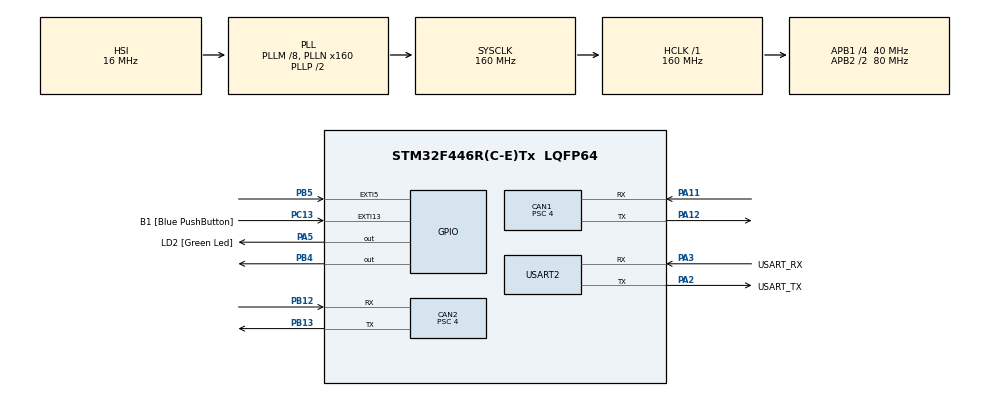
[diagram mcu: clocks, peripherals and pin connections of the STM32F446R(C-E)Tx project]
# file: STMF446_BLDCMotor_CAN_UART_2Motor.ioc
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CAN1.BS1=CAN_BS1_2TQ
CAN1.BS2=CAN_BS2_7TQ
CAN1.CalculateBaudRate=1000000
CAN1.CalculateTimeBit=1000
CAN1.CalculateTimeQuantum=100.0
CAN1.Prescaler=4
CAN1.SJW=CAN_SJW_2TQ
CAN2.BS1=CAN_BS1_2TQ
CAN2.BS2=CAN_BS2_7TQ
CAN2.CalculateBaudRate=1000000
CAN2.CalculateTimeBit=1000
CAN2.CalculateTimeQuantum=100.0
CAN2.Prescaler=4
CAN2.SJW=CAN_SJW_2TQ
Mcu.Family=STM32F4
Mcu.Name=STM32F446R(C-E)Tx
Mcu.Package=LQFP64
NVIC.CAN1_RX0_IRQn=true\:0\:0\:false\:false\:true\:true\:true\:true
NVIC.CAN1_TX_IRQn=true\:0\:0\:false\:false\:true\:true\:true\:true
NVIC.CAN2_RX0_IRQn=true\:0\:0\:false\:false\:true\:true\:true\:true
NVIC.CAN2_TX_IRQn=true\:0\:0\:false\:false\:true\:true\:true\:true
NVIC.EXTI9_5_IRQn=true\:0\:0\:false\:false\:true\:true\:true\:true
NVIC.PriorityGroup=NVIC_PRIORITYGROUP_4
NVIC.USART2_IRQn=true\:0\:0\:true\:false\:true\:true\:true\:true
PA11.Mode=CAN_Activate
PA11.Signal=CAN1_RX
PA12.GPIO_PuPd=GPIO_PULLUP
PA12.Mode=CAN_Activate
PA12.Signal=CAN1_TX
PA13.GPIO_Label=TMS
PA13.Mode=Serial_Wire
PA13.Signal=SYS_JTMS-SWDIO
PA14.GPIO_Label=TCK
PA14.Mode=Serial_Wire
PA14.Signal=SYS_JTCK-SWCLK
PA2.GPIO_Label=USART_TX
PA2.Mode=Asynchronous
PA2.Signal=USART2_TX
PA3.GPIO_Label=USART_RX
PA3.Mode=Asynchronous
PA3.Signal=USART2_RX
PA5.GPIO_Label=LD2 [Green Led]
PA5.PinState=GPIO_PIN_RESET
PA5.Signal=GPIO_Output
PB12.Mode=CAN_Activate
PB12.Signal=CAN2_RX
PB13.GPIO_PuPd=GPIO_PULLUP
PB13.Mode=CAN_Activate
PB13.Signal=CAN2_TX
PB3.GPIO_Label=SWO
PB3.Signal=SYS_JTDO-SWO
PB4.Signal=GPIO_Output
PB5.GPIO_ModeDefaultEXTI=GPIO_MODE_IT_RISING_FALLING
PB5.Signal=GPXTI5
PC13.GPIO_Label=B1 [Blue PushButton]
PC13.GPIO_ModeDefaultEXTI=GPIO_MODE_IT_FALLING
PC13.Signal=GPXTI13
PC14-OSC32_IN.Mode=LSE-External-Oscillator
PC14-OSC32_IN.Signal=RCC_OSC32_IN
PC15-OSC32_OUT.Mode=LSE-External-Oscillator
PC15-OSC32_OUT.Signal=RCC_OSC32_OUT
PH0-OSC_IN.Mode=HSE-External-Oscillator
PH0-OSC_IN.Signal=RCC_OSC_IN
PH1-OSC_OUT.Mode=HSE-External-Oscillator
PH1-OSC_OUT.Signal=RCC_OSC_OUT
ProjectManager.HeapSize=0x200
ProjectManager.StackSize=0x400
ProjectManager.TargetToolchain=STM32CubeIDE
RCC.48MHZClocksFreq_Value=84000000
RCC.AHBFreq_Value=160000000
RCC.APB1CLKDivider=RCC_HCLK_DIV4
RCC.APB1Freq_Value=40000000
RCC.APB1TimFreq_Value=80000000
RCC.APB2CLKDivider=RCC_HCLK_DIV2
RCC.APB2Freq_Value=80000000
RCC.APB2TimFreq_Value=160000000
RCC.CortexFreq_Value=160000000
RCC.FLatency-AdvancedSettings=FLASH_LATENCY_5
RCC.HCLKFreq_Value=160000000
RCC.HSE_VALUE=8000000
RCC.HSI_VALUE=16000000
RCC.PLLM=8
RCC.PLLN=160
RCC.SYSCLKFreq_VALUE=160000000
RCC.SYSCLKSource=RCC_SYSCLKSOURCE_PLLCLK
RCC.USBFreq_Value=160000000
RCC.VCOOutputFreq_Value=320000000
USART2.VirtualMode=VM_ASYNC
board=NUCLEO-F446RE

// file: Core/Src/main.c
/* USER CODE BEGIN Header */
/**
  ******************************************************************************
  * @file           : main.c
  * @brief          : Main program body
  ******************************************************************************
  * @attention
  *
  * Copyright (c) 2022 STMicroelectronics.
  * All rights reserved.
  *
  * This software is licensed under terms that can be found in the LICENSE file
  * in the root directory of this software component.
  * If no LICENSE file comes with this software, it is provided AS-IS.
  *
  ******************************************************************************
  */
/* USER CODE END Header */
#include "main.h"

/* USER CODE BEGIN Includes */
#include<stdio.h>
#include <math.h>
#include "math_ops.h"
#include "leg_message.h"
/* USER CODE END Includes */

 CAN_HandleTypeDef hcan1;
CAN_HandleTypeDef hcan2;

UART_HandleTypeDef huart2;

/* USER CODE BEGIN PV */
CAN_FilterTypeDef sFilterConfig;
CAN_TxHeaderTypeDef TxHeader;
CAN_RxHeaderTypeDef RxHeader;
uint8_t TxData[10];
uint8_t RxData[10];
uint8_t data[8];
uint32_t TxMailbox;
uint32_t canid;
uint8_t cmd_data = 0x00;
uint8_t home_position_state =0;
uint8_t get_uart_flag = 0;
uint8_t get_can_flag = 0; //canを受信したかどうかのflag
uint8_t nextcan_flag = 0;
uint8_t selectmode_flag = 0;
int Writecom=0x00;
int Readcom=0x00;
char RMD_cmd;
float p_getdata=0.0;
float t_position[2];
uint16_t p_getintdata=0;
float l1=300.0;
float l2=350.0;

/* USER CODE END PV */

void SystemClock_Config(void);
static void MX_GPIO_Init(void);
static void MX_USART2_UART_Init(void);
static void MX_CAN2_Init(void);
static void MX_CAN1_Init(void);
/* USER CODE BEGIN PFP */
/// Value Limits ///
 #define P_MIN -12.5f
 #define P_MAX 12.5f
 #define V_MIN -65.0f
 #define V_MAX 65.0f
 #define KP_MIN 0.0f
 #define KP_MAX 500.0f
 #define KD_MIN 0.0f
 #define KD_MAX 5.0f
 #define T_MIN -18.0f
 #define T_MAX 18.0f

 /// Joint Soft Stops ///
 #define A_LIM_P 1.5f
 #define A_LIM_N -1.5f
 #define H_LIM_P 5.0f
 #define H_LIM_N -5.0f
 #define K_LIM_P 0.2f
 #define K_LIM_N 7.7f
 #define KP_SOFTSTOP 100.0f
 #define KD_SOFTSTOP 0.4f;

#define ENABLE_CMD 0xFFFF
#define DISABLE_CMD 0x1F1F
/* USER CODE END PFP */

/* USER CODE BEGIN 0 */
uint8_t uart_data;
char tx_data[]="get_data\r\n";
int flag = 1;
uint8_t buffersize=10;
typedef struct {
	uint16_t rxMsg;
	uint16_t txMsg;
}CANMessage;

void HAL_GPIO_EXTI_Callback(uint16_t GPIO_Pin)
{
	//stepper 0 end stop senssor
	if(GPIO_Pin == GPIO_PIN_5 ){
		if(!HAL_GPIO_ReadPin(GPIOB, GPIO_PIN_5)){	//end stop ONの時フラグを立てる
			home_position_state |= 1;
		}
		if(HAL_GPIO_ReadPin(GPIOB, GPIO_PIN_5)){
			home_position_state &= ~1;
		}
	}
}

void Zero(){
	data[0] = 0xFF;
    data[1] = 0xFF;
    data[2] = 0xFF;
    data[3] = 0xFF;
    data[4] = 0xFF;
    data[5] = 0xFF;
    data[6] = 0xFF;
    data[7] = 0xFE;
    //WriteAll();
    }

void EnterMotorMode(){
	data[0] = 0xFF;
    data[1] = 0xFF;
    data[2] = 0xFF;
    data[3] = 0xFF;
    data[4] = 0xFF;
    data[5] = 0xFF;
    data[6] = 0xFF;
    data[7] = 0xFC;
    //WriteAll();
    }

void ExitMotorMode(){
	data[0] = 0xFF;
	data[1] = 0xFF;
	data[2] = 0xFF;
	data[3] = 0xFF;
	data[4] = 0xFF;
	data[5] = 0xFF;
	data[6] = 0xFF;
	data[7] = 0xFD;
    //WriteAll();
    }

void pack_cmd(float _p_des, float _v_des, float _kp, float _kd, float _t_ff){
	/// limit data to be within bounds ///
	float p_des = fminf(fmaxf(P_MIN, _p_des), P_MAX);
	float v_des = fminf(fmaxf(V_MIN, _v_des), V_MAX);
	float kp = fminf(fmaxf(KP_MIN, _kp), KP_MAX);
	float kd = fminf(fmaxf(KD_MIN, _kd), KD_MAX);
	float t_ff = fminf(fmaxf(T_MIN, _t_ff), T_MAX);
	/// convert floats to unsigned ints ///
	uint16_t p_int = float_to_uint(p_des, P_MIN, P_MAX, 16);
	uint16_t v_int = float_to_uint(v_des, V_MIN, V_MAX, 12);
	uint16_t kp_int = float_to_uint(kp, KP_MIN, KP_MAX, 12);
	uint16_t kd_int = float_to_uint(kd, KD_MIN, KD_MAX, 12);
	uint16_t t_int = float_to_uint(t_ff, T_MIN, T_MAX, 12);
	/// pack ints into the can buffer ///
	data[0] = p_int>>8;
	data[1] = p_int&0xFF;
	data[2] = v_int>>4;
	data[3] = ((v_int&0xF)<<4)|(kp_int>>8);
	data[4] = kp_int&0xFF;
	data[5] = kd_int>>4;
	data[6] = ((kd_int&0xF)<<4)|(t_int>>8);
	data[7] = t_int&0xFF;
}
void BLDC_CANTx(){
	TxHeader.StdId=canid;
	TxHeader.IDE = CAN_ID_STD;
	TxHeader.DLC = 0x08;
	TxHeader.RTR = CAN_RTR_DATA;
	TxHeader.TransmitGlobalTime = DISABLE;
//	HAL_CAN_AddTxMessage(&hcan1,&TxHeader,data,&TxMailbox);
//	HAL_Delay(10);

//	int i = 0;
	int count=0;
	if(0 < HAL_CAN_GetTxMailboxesFreeLevel(&hcan2) ){
		HAL_CAN_AddTxMessage(&hcan2,&TxHeader,data,&TxMailbox);
		HAL_Delay(10);
//		printf("Can Send\r\n"3);
		while(!nextcan_flag){
			printf("Mailboxes: %d\r\n",HAL_CAN_GetTxMailboxesFreeLevel(&hcan2));
			HAL_CAN_AddTxMessage(&hcan2,&TxHeader,data,&TxMailbox);
			HAL_Delay(1);
			count++;
			if(count==10){
				nextcan_flag=1;
				get_can_flag=1;
				HAL_CAN_Stop (&hcan2);
				//HAL_CAN_AbortTxRequest(&hcan1,TxMailbox);
				HAL_CAN_Start(&hcan2);
				printf("CAN RESET\r\n");
			}
		}
		nextcan_flag=0;
		count=0;
	}else{
		printf("Mailbox_congestion\r\n");
		nextcan_flag=0;
		get_can_flag=1;
	}
	HAL_Delay(10);
}

void unpack_reply(){
    /// unpack ints from can buffer ///
    uint16_t id = data[0];
    uint16_t p_int = (data[1]<<8)|data[2];
    uint16_t v_int = (data[3]<<4)|(data[4]>>4);
    uint16_t i_int = ((data[4]&0xF)<<8)|data[5];

    p_getintdata=p_int;
    /// convert uints to floats ///
    float p = uint_to_float(p_int, P_MIN, P_MAX, 16);
    float v = uint_to_float(v_int, V_MIN, V_MAX, 12);
    float t = uint_to_float(i_int, -T_MAX, T_MAX, 12);
    p_getdata=p;
    //printf(" get data \r\n");
    printf("GetUnpackCanData\r\n");
    printf("ID : %x\r\n",id);
    printf("Position : %lf\r\n",p);
    printf("Velocity : %lf\r\n",v);
    printf("Current : %lf\r\n",t);
	printf("\r\n");

}
void BLDC_MotorRotate(){
	float Kp_change_exp[2];
	float Kp_change[2];
	float i;
	float count;
	uint8_t count_end=0;
	canid=0x01;
	pack_cmd(0.0, 0.0, 0.0, 4.0, 0.0);	//現在の場所の所得
	BLDC_CANTx();
	HAL_Delay(10);
	unpack_reply();
	Kp_change[0]=fabsf(t_position[0]-p_getdata);	//目標地点ー現在の地点＝移動距離
	canid=0x02;
	pack_cmd(0.0, 0.0, 0.0, 4.0, 0.0);	//現在の場所の所得
	BLDC_CANTx();
	HAL_Delay(10);
	unpack_reply();
	Kp_change[1]=fabsf(t_position[1]-p_getdata);
	Kp_change_exp[0]=0.0;
	Kp_change_exp[1]=0.0;
	i= -5.0;
	count=(Kp_change[0]>=Kp_change[1])?Kp_change[0]:Kp_change[1];
	while(count_end==0){
			if(i<=2.0){
				i+=7.0/(20.0 *count);
				Kp_change_exp[0]=100.0*(exp(i)/exp(2.0));
				canid=0x01;
				pack_cmd(t_position[0], 0.0, Kp_change_exp[0], 3.0, 0.0);
				BLDC_CANTx();
				HAL_Delay(10);

				Kp_change_exp[1]=100.0*(exp(i)/exp(2.0));
				canid=0x02;
				pack_cmd(t_position[1], 0.0, Kp_change_exp[1], 3.0, 0.0);
				BLDC_CANTx();
				HAL_Delay(10);
			}else{
				if(Kp_change_exp[0]!=100.0){
					canid=0x01;
					pack_cmd(t_position[0], 0.0, 100.0 , 3.0, 0.0);
					BLDC_CANTx();
					HAL_Delay(10);
					printf("Kp_hosei\r\n");
				}
				if(Kp_change_exp[1]!=100.0){
					canid=0x02;
					pack_cmd(t_position[1], 0.0, 100.0 , 3.0, 0.0);
					BLDC_CANTx();
					HAL_Delay(10);
					printf("Kp_hosei\r\n");
				}
				count_end=1;
			}
		}
}

void command_judgment(uint8_t *ModeSelect){
	int modeflag_count=0;
	for(uint8_t i=0; i<10 ;i++){
			  ModeSelect[i]= ~(ModeSelect[i]);
			  if(ModeSelect[i]==0){
				  modeflag_count++;
			  }
		  }
		  if(modeflag_count<=8){	//動作モード
			  selectmode_flag=0;
		  }
		  else if(modeflag_count==9){	//コマンドモード,9byte ModeSelectが0だったら
			  selectmode_flag=1;
		  }
}
void BLDC_FK(float s1,float s2,float* xp,float* yp);
void BLDC_IK(float x,float y,float* s1p,float* s2p);
/* USER CODE END 0 */

int main(void)
{

  /* MCU Configuration--------------------------------------------------------*/

  /* Reset of all peripherals, Initializes the Flash interface and the Systick. */
  HAL_Init();

  /* Configure the system clock */
  SystemClock_Config();

  /* Initialize all configured peripherals */
  MX_GPIO_Init();
  MX_USART2_UART_Init();
  MX_CAN2_Init();
  MX_CAN1_Init();
  /* USER CODE BEGIN 2 */
  uint32_t Init_flag=0;
  if(HAL_GPIO_ReadPin(GPIOB, GPIO_PIN_5)!=1){	//リミットスイッチON→待機状態
	  home_position_state=1;
	  printf("home_position_state\r\n");
  }else{
	  home_position_state=0;
	  printf("Error!\r\n");
  }
sFilterConfig.FilterBank = 14;
sFilterConfig.FilterMode = CAN_FILTERMODE_IDMASK;
sFilterConfig.FilterScale = CAN_FILTERSCALE_32BIT;
sFilterConfig.FilterIdHigh = 0x0000;
sFilterConfig.FilterIdLow = 0x0000;
sFilterConfig.FilterMaskIdHigh = 0x0000;
sFilterConfig.FilterMaskIdLow = 0x0000;
sFilterConfig.FilterFIFOAssignment = CAN_RX_FIFO0;
//	sFilterConfig.FilterFIFOAssignment =CAN_FILTER_FIFO0;
sFilterConfig.FilterActivation=ENABLE;
sFilterConfig.SlaveStartFilterBank=14;

if(HAL_CAN_ConfigFilter(&hcan2,&sFilterConfig) != HAL_OK)
{
	Error_Handler();
}
if(HAL_CAN_Start(&hcan2)!=HAL_OK)
{
	Error_Handler();
}

if(HAL_CAN_ActivateNotification(&hcan2,CAN_IT_RX_FIFO0_MSG_PENDING | CAN_IT_TX_MAILBOX_EMPTY) != HAL_OK)
{
	Error_Handler();
}
uint8_t judgment[10];
uint8_t modeflag=0;
uint32_t t_int_position[2];
uint8_t mode_select[1];
char Mode_Type[4];
uint32_t Mode_selection=0;
float coordinate_tf[2];
float fk_data[2];
float ik_data[2];
float origin_position[10];
BLDC_IK(-300.0,0.0,&ik_data[0],&ik_data[1]);
origin_position[0]=ik_data[0];
origin_position[1]=ik_data[1];
fk_data[0]=0.0;
fk_data[1]=0.0;
RxData[0]=0;
printf("BLDC Start\r\n");

  /* USER CODE END 2 */

  /* Infinite loop */
  /* USER CODE BEGIN WHILE */
  while (1)
  {
//	  RxData[0]=0;
//	  home_position_state=0;
	  get_uart_flag=0;
	  HAL_UART_Receive_IT(&huart2, (uint8_t *)RxData, buffersize);
	  //HAL_UART_Transmit(&huart2, (uint8_t *)RxData, buffersize,300);
	  //受信するまで待つ
	  while(!get_uart_flag){}
	  get_can_flag=1;//canデータ受信用のフラグを0に
	  for(int i=0;i<10;i++){
		  judgment[i]=RxData[i];
	  }
	  command_judgment(judgment);
	  if(home_position_state==1&&selectmode_flag==1&&RxData[0]==0x1A){	//初期位置モード
		  printf("Initialization\r\n");	//初期位置モード
		  EnterMotorMode();
		  canid=0x01;
		  BLDC_CANTx();
		  canid=0x02;
		  BLDC_CANTx();
		  HAL_Delay(10);
		  t_position[0]=PI/2;
		  t_position[1]=PI;
		  BLDC_MotorRotate();
		  RxData[0]=0;
	  }
	  else if(home_position_state==0&&selectmode_flag==1){
			  mode_select[0]=RxData[0];	//モード変更
		  }
	 if(home_position_state==0){
		  switch(mode_select[0]){	//動作モード
		  case 0xA0:
			  if(selectmode_flag==0){
				  t_position[0] = uint_to_float(RxData[0], P_MIN, P_MAX, 16);
				  t_position[1] = uint_to_float(RxData[1], P_MIN, P_MAX, 16);
				  BLDC_MotorRotate();
			  }
			  break;
		  case 0xB0:	//ティーチングモード開始
			  canid=0x01;
			  pack_cmd(0.0, 0.0, 0.0, 1.0, 0.0);
			  BLDC_CANTx();
			  canid=0x02;
			  pack_cmd(0.0, 0.0, 0.0, 1.0, 0.0);
			  BLDC_CANTx();
			  HAL_Delay(10);
			  RxData[0]=0;
			  break;
		  case 0xB1:	//ティーチング決定
			  canid=0x01;
			  pack_cmd(0.0, 0.0, 0.0, 4.0, 0.0);
			  BLDC_CANTx();
			  unpack_reply();
			  TxData[0]=p_getintdata;
			  canid=0x02;
			  pack_cmd(0.0, 0.0, 0.0, 4.0, 0.0);
			  BLDC_CANTx();
			  unpack_reply();
			  TxData[1]=p_getintdata;
			  HAL_UART_Transmit(&huart2,TxData,sizeof(TxData),100);
			  break;
		  case 0x01:	//モーターON
			  canid=0x01;
			  EnterMotorMode();
			  BLDC_CANTx();
			  canid=0x02;
			  EnterMotorMode();
			  BLDC_CANTx();
			  break;
		  case 0x02:	//モーターOFF
			  canid=0x01;
			  ExitMotorMode();
			  BLDC_CANTx();
			  canid=0x02;
			  ExitMotorMode();
			  BLDC_CANTx();
			  break;
		  case 0xF1:	//座標受け取り、

			  break;
		  default:
			  get_can_flag=1;
			  break;
		  }
		  get_uart_flag=0;
		  while(!get_can_flag){}
	  }

    /* USER CODE END WHILE */

  }
}

void SystemClock_Config(void)
{
  RCC_OscInitTypeDef RCC_OscInitStruct = {0};
  RCC_ClkInitTypeDef RCC_ClkInitStruct = {0};

  /** Configure the main internal regulator output voltage
  */
  __HAL_RCC_PWR_CLK_ENABLE();
  __HAL_PWR_VOLTAGESCALING_CONFIG(PWR_REGULATOR_VOLTAGE_SCALE1);

  /** Initializes the RCC Oscillators according to the specified parameters
  * in the RCC_OscInitTypeDef structure.
  */
  RCC_OscInitStruct.OscillatorType = RCC_OSCILLATORTYPE_HSI;
  RCC_OscInitStruct.HSIState = RCC_HSI_ON;
  RCC_OscInitStruct.HSICalibrationValue = RCC_HSICALIBRATION_DEFAULT;
  RCC_OscInitStruct.PLL.PLLState = RCC_PLL_ON;
  RCC_OscInitStruct.PLL.PLLSource = RCC_PLLSOURCE_HSI;
  RCC_OscInitStruct.PLL.PLLM = 8;
  RCC_OscInitStruct.PLL.PLLN = 160;
  RCC_OscInitStruct.PLL.PLLP = RCC_PLLP_DIV2;
  RCC_OscInitStruct.PLL.PLLQ = 2;
  RCC_OscInitStruct.PLL.PLLR = 2;
  if (HAL_RCC_OscConfig(&RCC_OscInitStruct) != HAL_OK)
  {
    Error_Handler();
  }

  /** Initializes the CPU, AHB and APB buses clocks
  */
  RCC_ClkInitStruct.ClockType = RCC_CLOCKTYPE_HCLK|RCC_CLOCKTYPE_SYSCLK
                              |RCC_CLOCKTYPE_PCLK1|RCC_CLOCKTYPE_PCLK2;
  RCC_ClkInitStruct.SYSCLKSource = RCC_SYSCLKSOURCE_PLLCLK;
  RCC_ClkInitStruct.AHBCLKDivider = RCC_SYSCLK_DIV1;
  RCC_ClkInitStruct.APB1CLKDivider = RCC_HCLK_DIV4;
  RCC_ClkInitStruct.APB2CLKDivider = RCC_HCLK_DIV2;

  if (HAL_RCC_ClockConfig(&RCC_ClkInitStruct, FLASH_LATENCY_5) != HAL_OK)
  {
    Error_Handler();
  }
}

static void MX_CAN1_Init(void)
{

  hcan1.Instance = CAN1;
  hcan1.Init.Prescaler = 4;
  hcan1.Init.Mode = CAN_MODE_NORMAL;
  hcan1.Init.SyncJumpWidth = CAN_SJW_2TQ;
  hcan1.Init.TimeSeg1 = CAN_BS1_2TQ;
  hcan1.Init.TimeSeg2 = CAN_BS2_7TQ;
  hcan1.Init.TimeTriggeredMode = DISABLE;
  hcan1.Init.AutoBusOff = DISABLE;
  hcan1.Init.AutoWakeUp = DISABLE;
  hcan1.Init.AutoRetransmission = DISABLE;
  hcan1.Init.ReceiveFifoLocked = DISABLE;
  hcan1.Init.TransmitFifoPriority = DISABLE;
  if (HAL_CAN_Init(&hcan1) != HAL_OK)
  {
    Error_Handler();
  }

}

static void MX_CAN2_Init(void)
{

  hcan2.Instance = CAN2;
  hcan2.Init.Prescaler = 4;
  hcan2.Init.Mode = CAN_MODE_NORMAL;
  hcan2.Init.SyncJumpWidth = CAN_SJW_2TQ;
  hcan2.Init.TimeSeg1 = CAN_BS1_2TQ;
  hcan2.Init.TimeSeg2 = CAN_BS2_7TQ;
  hcan2.Init.TimeTriggeredMode = DISABLE;
  hcan2.Init.AutoBusOff = DISABLE;
  hcan2.Init.AutoWakeUp = DISABLE;
  hcan2.Init.AutoRetransmission = DISABLE;
  hcan2.Init.ReceiveFifoLocked = DISABLE;
  hcan2.Init.TransmitFifoPriority = DISABLE;
  if (HAL_CAN_Init(&hcan2) != HAL_OK)
  {
    Error_Handler();
  }

}

static void MX_USART2_UART_Init(void)
{

  huart2.Instance = USART2;
  huart2.Init.BaudRate = 115200;
  huart2.Init.WordLength = UART_WORDLENGTH_8B;
  huart2.Init.StopBits = UART_STOPBITS_1;
  huart2.Init.Parity = UART_PARITY_NONE;
  huart2.Init.Mode = UART_MODE_TX_RX;
  huart2.Init.HwFlowCtl = UART_HWCONTROL_NONE;
  huart2.Init.OverSampling = UART_OVERSAMPLING_16;
  if (HAL_UART_Init(&huart2) != HAL_OK)
  {
    Error_Handler();
  }

}

static void MX_GPIO_Init(void)
{
  GPIO_InitTypeDef GPIO_InitStruct = {0};

  /* GPIO Ports Clock Enable */
  __HAL_RCC_GPIOC_CLK_ENABLE();
  __HAL_RCC_GPIOH_CLK_ENABLE();
  __HAL_RCC_GPIOA_CLK_ENABLE();
  __HAL_RCC_GPIOB_CLK_ENABLE();

  /*Configure GPIO pin Output Level */
  HAL_GPIO_WritePin(LD2_GPIO_Port, LD2_Pin, GPIO_PIN_RESET);

  /*Configure GPIO pin Output Level */
  HAL_GPIO_WritePin(GPIOB, GPIO_PIN_4, GPIO_PIN_RESET);

  /*Configure GPIO pin : B1_Pin */
  GPIO_InitStruct.Pin = B1_Pin;
  GPIO_InitStruct.Mode = GPIO_MODE_IT_FALLING;
  GPIO_InitStruct.Pull = GPIO_NOPULL;
  HAL_GPIO_Init(B1_GPIO_Port, &GPIO_InitStruct);

  /*Configure GPIO pin : LD2_Pin */
  GPIO_InitStruct.Pin = LD2_Pin;
  GPIO_InitStruct.Mode = GPIO_MODE_OUTPUT_PP;
  GPIO_InitStruct.Pull = GPIO_NOPULL;
  GPIO_InitStruct.Speed = GPIO_SPEED_FREQ_LOW;
  HAL_GPIO_Init(LD2_GPIO_Port, &GPIO_InitStruct);

  /*Configure GPIO pin : PB4 */
  GPIO_InitStruct.Pin = GPIO_PIN_4;
  GPIO_InitStruct.Mode = GPIO_MODE_OUTPUT_PP;
  GPIO_InitStruct.Pull = GPIO_NOPULL;
  GPIO_InitStruct.Speed = GPIO_SPEED_FREQ_LOW;
  HAL_GPIO_Init(GPIOB, &GPIO_InitStruct);

  /*Configure GPIO pin : PB5 */
  GPIO_InitStruct.Pin = GPIO_PIN_5;
  GPIO_InitStruct.Mode = GPIO_MODE_IT_RISING_FALLING;
  GPIO_InitStruct.Pull = GPIO_NOPULL;
  HAL_GPIO_Init(GPIOB, &GPIO_InitStruct);

  /* EXTI interrupt init*/
  HAL_NVIC_SetPriority(EXTI9_5_IRQn, 0, 0);
  HAL_NVIC_EnableIRQ(EXTI9_5_IRQn);

}

/* USER CODE BEGIN 4 */
void BLDC_FK(float s1,float s2,float* xp,float* yp){
	float x=0.0;
	float y=0.0;
	x=-(l1*cos(s1)+l2*cos(s1+s2));
	y=l1*sin(s1)+l2*sin(s1+s2);
	printf("s1=%f\r\n",s1);
	printf("s2=%f\r\n",s2);
	printf("x=%f\r\n",x);
	printf("y=%f\r\n",y);
	*xp=x;
	*yp=y;
}
void BLDC_IK(float x,float y,float* s1p,float* s2p){
	float s1=0.0;
	float s2=0.0;
	s1=atan(-y/x)-acos((x*x+y*y+l1*l1-l2*l2)/(2*l1*sqrt(x*x+y*y)));
	s2=M_PI-(acos(((l1*l1+l2*l2)-(x*x+y*y))/(2*l1*l2)));
	printf("x=%f\r\n",s1);
	printf("y=%f\r\n",s2);
	*s1p=s1;
	*s2p=s2;
}
int _write(int file, char *ptr, int len)	//printfに必要
{
  HAL_UART_Transmit(&huart2,(uint8_t *)ptr,len,10);
  return len;
}

void HAL_UART_RxCpltCallback(UART_HandleTypeDef*UartHandle)
{
	HAL_UART_Receive_IT(&huart2, (uint8_t *)RxData, buffersize);
	get_uart_flag=1;

}
void HAL_CAN_TxMailbox0CompleteCallback(CAN_HandleTypeDef *hcan)
{
//	  HAL_GPIO_WritePin(GPIOA,GPIO_PIN_5,1);
//	  printf("TxCan\r\n");
	  nextcan_flag=1;
}

void HAL_CAN_RxFifo0MsgPendingCallback(CAN_HandleTypeDef *hcan)
{
	get_can_flag=1;
//	printf("RxCan\r\n");
	HAL_CAN_GetRxMessage(&hcan2,CAN_RX_FIFO0, &RxHeader,data);

}

/* USER CODE END 4 */

void Error_Handler(void)
{
  __disable_irq();
  while (1)
  {
  }
}
